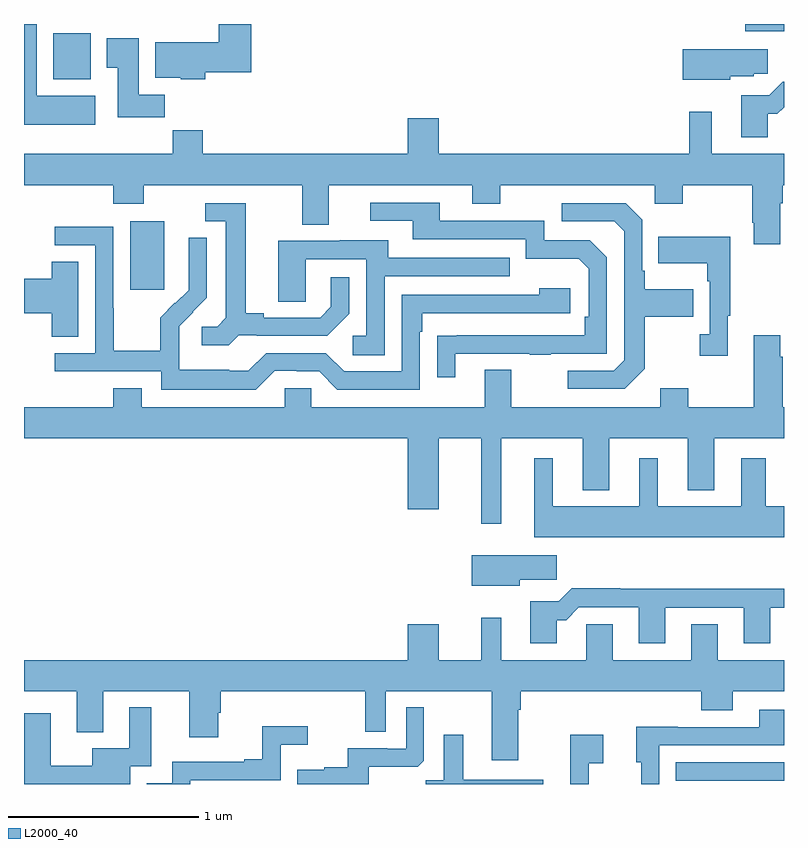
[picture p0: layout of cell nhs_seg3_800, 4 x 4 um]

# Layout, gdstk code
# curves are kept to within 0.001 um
import gdstk
lib = gdstk.Library(unit=1e-6, precision=1e-09)
def R(c, l, rs):  # rectangles x0, y0, x1, y1
    for r in rs: c.add(gdstk.rectangle(r[:2], r[2:], *l))
def P(c, l, *ps):  # polygons
    for p in ps: c.add(gdstk.Polygon(p, *l))
L2000_40 = (2000, 40)

nhs_seg3_800 = lib.new_cell('nhs_seg3_800')
R(nhs_seg3_800, L2000_40, [(154.429,728.418,155,728.514), (151.559,731.001,151.738,731.362), (151.154,732.11,151.351,732.352), (154.796,732.362,155,732.4)])
P(nhs_seg3_800, L2000_40, [(151.955,732.146),(152.195,732.146),(152.195,732.4),(152.024,732.4),(152.024,732.304),(151.691,732.304),(151.691,732.116),(151.824,732.116),(151.824,732.11),(151.955,732.11)],
  [(151.375,732.022),(151.066,732.022),(151.066,732.4),(151,732.4),(151,731.87),(151.375,731.87)],
  [(151.742,732.028),(151.603,732.028),(151.603,732.325),(151.436,732.325),(151.436,732.169),(151.493,732.169),(151.493,731.91),(151.742,731.91)],
  [(154.716,732.125),(154.842,732.125),(154.842,732.139),(154.915,732.139),(154.915,732.268),(154.466,732.268),(154.466,732.107),(154.716,732.107)],
  [(154.915,731.927),(154.964,731.927),(155,731.963),(155,732.095),(154.994,732.095),(154.923,732.024),(154.775,732.024),(154.775,731.805),(154.915,731.805)],
  [(154.981,731.456),(154.994,731.456),(154.994,731.552),(155,731.552),(155,731.716),(154.621,731.716),(154.621,731.938),(154.5,731.938),(154.5,731.716),(153.184,731.716),(153.184,731.905),(153.02,731.905),(153.02,731.716),(151.94,731.716),(151.94,731.84),(151.783,731.84),(151.783,731.716),(151,731.716),(151,731.552),(151.469,731.552),(151.469,731.453),(151.629,731.453),(151.629,731.552),(152.465,731.552),(152.465,731.344),(152.605,731.344),(152.605,731.552),(153.359,731.552),(153.359,731.453),(153.507,731.453),(153.507,731.552),(154.32,731.552),(154.32,731.453),(154.467,731.453),(154.467,731.552),(154.834,731.552),(154.834,731.353),(154.841,731.353),(154.841,731.241),(154.981,731.241)],
  [(153.271,730.665),(153.661,730.665),(153.661,730.66),(153.773,730.66),(153.773,730.665),(154.068,730.665),(154.068,731.172),(153.978,731.262),(153.738,731.262),(153.738,731.364),(153.187,731.364),(153.187,731.46),(152.823,731.46),(152.823,731.364),(153.047,731.364),(153.047,731.268),(153.642,731.268),(153.642,731.165),(153.919,731.165),(153.972,731.112),(153.972,730.858),(153.952,730.858),(153.952,730.761),(153.175,730.76),(153.175,730.542),(153.271,730.542)],
  [(152.13,730.761),(152.224,730.761),(152.224,730.758),(152.596,730.758),(152.712,730.874),(152.712,731.068),(152.615,731.068),(152.615,730.911),(152.558,730.854),(152.263,730.854),(152.263,730.877),(152.167,730.877),(152.167,731.457),(151.953,731.457),(151.953,731.361),(152.063,731.361),(152.063,730.853),(152.016,730.806),(151.935,730.806),(151.935,730.709),(152.078,730.709)],
  [(154.267,730.585),(154.267,730.858),(154.523,730.858),(154.523,731.005),(154.267,731.005),(154.267,731.101),(154.254,731.101),(154.254,731.37),(154.167,731.457),(153.831,731.457),(153.831,731.361),(154.107,731.361),(154.158,731.31),(154.158,730.629),(154.104,730.575),(153.861,730.575),(153.861,730.479),(154.161,730.479)],
  [(152.319,730.575),(152.435,730.575),(152.435,730.572),(152.553,730.572),(152.649,730.476),(153.084,730.476),(153.084,730.781),(153.097,730.781),(153.097,730.878),(153.874,730.878),(153.874,731.008),(153.713,731.008),(153.713,730.974),(152.988,730.974),(152.988,730.572),(152.685,730.572),(152.589,730.668),(152.274,730.668),(152.181,730.575),(152.081,730.575),(152.081,730.579),(151.818,730.579),(151.818,730.713),(151.816,730.713),(151.816,730.81),(151.962,730.958),(151.962,731.276),(151.866,731.276),(151.866,731.122),(151.868,731.122),(151.868,731),(151.797,730.929),(151.794,730.932),(151.717,730.855),(151.717,730.681),(151.473,730.681),(151.473,730.904),(151.47,730.904),(151.47,731.334),(151.161,731.334),(151.161,731.235),(151.374,731.235),(151.374,730.668),(151.161,730.668),(151.161,730.572),(151.722,730.572),(151.722,730.475),(152.219,730.475)],
  [(154.705,730.865),(154.717,730.865),(154.717,731.281),(154.339,731.281),(154.339,731.141),(154.596,731.141),(154.596,731.045),(154.608,731.045),(154.608,730.766),(154.557,730.766),(154.557,730.653),(154.705,730.653)],
  [(152.898,731.073),(153.557,731.073),(153.557,731.169),(152.917,731.169),(152.917,731.263),(152.663,731.263),(152.663,731.259),(152.339,731.259),(152.339,730.939),(152.484,730.939),(152.484,731.163),(152.802,731.163),(152.802,730.758),(152.73,730.758),(152.73,730.657),(152.898,730.657)],
  [(151.285,731.15),(151.147,731.15),(151.147,731.06),(151,731.06),(151,730.877),(151.147,730.877),(151.147,730.753),(151.285,730.753)],
  [(152.511,730.482),(152.373,730.482),(152.373,730.384),(151.621,730.384),(151.621,730.483),(151.469,730.483),(151.469,730.384),(151,730.384),(151,730.22),(153.02,730.22),(153.02,729.846),(153.184,729.846),(153.184,730.22),(153.407,730.22),(153.407,729.771),(153.511,729.771),(153.511,730.22),(153.941,730.22),(153.941,729.947),(154.081,729.947),(154.081,730.22),(154.493,730.22),(154.493,729.947),(154.633,729.947),(154.633,730.22),(155,730.22),(155,730.384),(154.994,730.384),(154.994,730.649),(154.981,730.649),(154.981,730.762),(154.841,730.762),(154.841,730.384),(154.497,730.384),(154.497,730.483),(154.349,730.483),(154.349,730.384),(153.565,730.384),(153.565,730.579),(153.425,730.579),(153.425,730.384),(152.511,730.384)],
  [(155,729.862),(154.903,729.862),(154.903,730.114),(154.775,730.114),(154.775,729.862),(154.336,729.862),(154.336,730.114),(154.238,730.114),(154.238,729.862),(153.784,729.862),(153.784,730.114),(153.686,730.114),(153.686,729.698),(155,729.698)],
  [(153.61,729.475),(153.805,729.475),(153.805,729.604),(153.356,729.604),(153.356,729.443),(153.61,729.443)],
  [(153.805,729.263),(153.854,729.263),(153.921,729.33),(154.235,729.33),(154.235,729.141),(154.375,729.141),(154.375,729.327),(154.787,729.327),(154.787,729.141),(154.927,729.141),(154.927,729.327),(155,729.327),(155,729.428),(154.139,729.428),(154.139,729.431),(153.884,729.431),(153.814,729.361),(153.665,729.361),(153.665,729.141),(153.805,729.141)],
  [(153.601,728.792),(153.614,728.792),(153.614,728.888),(154.565,728.888),(154.565,728.789),(154.729,728.789),(154.729,728.888),(155,728.888),(155,729.052),(154.651,729.052),(154.651,729.242),(154.511,729.242),(154.511,729.052),(154.099,729.052),(154.099,729.242),(153.96,729.242),(153.96,729.052),(153.511,729.052),(153.511,729.274),(153.407,729.274),(153.407,729.052),(153.184,729.052),(153.184,729.241),(153.02,729.241),(153.02,729.052),(151,729.052),(151,728.888),(151.277,728.888),(151.277,728.672),(151.417,728.672),(151.417,728.888),(151.871,728.888),(151.871,728.646),(152.023,728.646),(152.023,728.775),(152.036,728.775),(152.036,728.888),(152.796,728.888),(152.796,728.674),(152.904,728.674),(152.904,728.888),(153.461,728.888),(153.461,728.526),(153.601,728.526)],
  [(151.56,728.493),(151.669,728.493),(151.669,728.803),(151.553,728.803),(151.553,728.587),(151.358,728.587),(151.358,728.496),(151.141,728.496),(151.141,728.773),(151.001,728.773),(151.001,728.484),(151,728.484),(151,728.4),(151.56,728.4)],
  [(152.815,728.492),(153.073,728.492),(153.105,728.523),(153.105,728.803),(153.012,728.803),(153.012,728.586),(152.912,728.586),(152.912,728.589),(152.705,728.589),(152.705,728.488),(152.581,728.488),(152.581,728.476),(152.437,728.476),(152.437,728.4),(152.815,728.4)],
  [(154.344,728.604),(155,728.604),(155,728.791),(154.871,728.791),(154.871,728.7),(154.441,728.7),(154.441,728.702),(154.223,728.702),(154.223,728.514),(154.248,728.514),(154.248,728.4),(154.344,728.4)],
  [(151.875,728.421),(152.352,728.421),(152.352,728.606),(152.494,728.606),(152.494,728.705),(152.254,728.705),(152.254,728.53),(152.159,728.53),(152.159,728.517),(151.779,728.517),(151.779,728.403),(151.646,728.403),(151.646,728.4),(151.875,728.4)],
  [(153.733,728.422),(153.313,728.422),(153.313,728.659),(153.209,728.659),(153.209,728.42),(153.114,728.42),(153.114,728.4),(153.733,728.4)],
  [(153.972,728.51),(154.048,728.51),(154.048,728.659),(153.875,728.659),(153.875,728.4),(153.972,728.4)])

lib.write_gds('nhs_seg3_800.gds')
